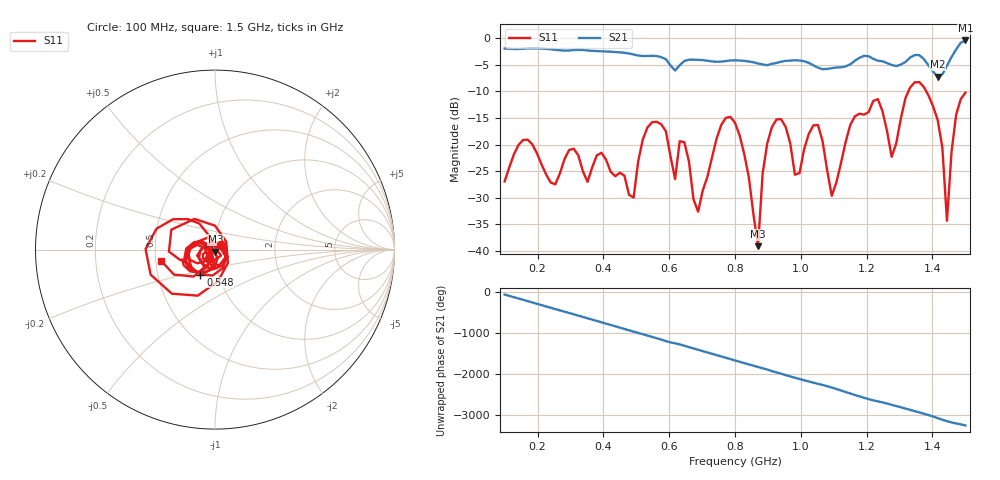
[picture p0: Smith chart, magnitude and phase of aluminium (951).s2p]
! NanoVNA-App
! Date: 2025-09-25 15:02:41
! Start: 100MHz Stop: 1,5GHz Points: 101
! S-Parameter data: F S11 S21 S12 S22
# Hz S RI R 50
!  Frequency  S11_Real  S11_Imag  S21_Real  S21_Imag  S12_Real  S12_Imag  S22_Real  S22_Imag
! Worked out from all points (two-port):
!   101 points, 100 MHz to 1.5 GHz, reference 50 ohm
!   highest |S21| = -0.42 dB at 1.5 GHz (marker M1); lowest = -7.3 dB at 1.416 GHz (marker M2)
!   |S21| within 3 dB of the highest: start of sweep to 566.6 MHz; 1.459 GHz to end of sweep (the widest 2 of 4)
!   lowest |S11| = -39.1 dB at 870 MHz (marker M3), VSWR 1.02, Z = 50.2 - j1.09 ohm
!   |S11| at or under -10 dB: start of sweep to 1.327 GHz; 1.381 GHz to end of sweep
!   S12 and S22 are empty: the file has one direction only
!   S11 on the Smith chart (normalised r, x): 100 MHz: 1.07, +0.06; 548 MHz: 0.82, -0.24; 1.5 GHz: 0.53, -0.07
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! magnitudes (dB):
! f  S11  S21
! 100 MHz  -27.0  -1.9
! 156 MHz  -19.2  -2.0
! 338 MHz  -25.1  -2.2
! 492 MHz  -30.0  -3.1
! 548 MHz  -15.8  -3.3
! 576 MHz  -16.2  -3.6
! 618 MHz  -26.5  -6.1
! 646 MHz  -19.6  -4.3
! 688 MHz  -32.6  -4.1
! 800 MHz  -15.9  -4.1
! 870 MHz  -39.1  -4.7
! 912 MHz  -16.7  -4.8
! 982 MHz  -25.7  -4.1
! 1.038 GHz  -16.4  -5.1
! 1.094 GHz  -29.7  -5.6
! 1.22 GHz  -11.8  -3.9
! 1.276 GHz  -22.3  -5.0
! 1.346 GHz  -8.3  -3.2
! 1.416 GHz  -15.4  -7.3
! 1.444 GHz  -34.3  -5.2
! 1.472 GHz  -14.4  -2.1
! 1.5 GHz  -10.2  -0.4
